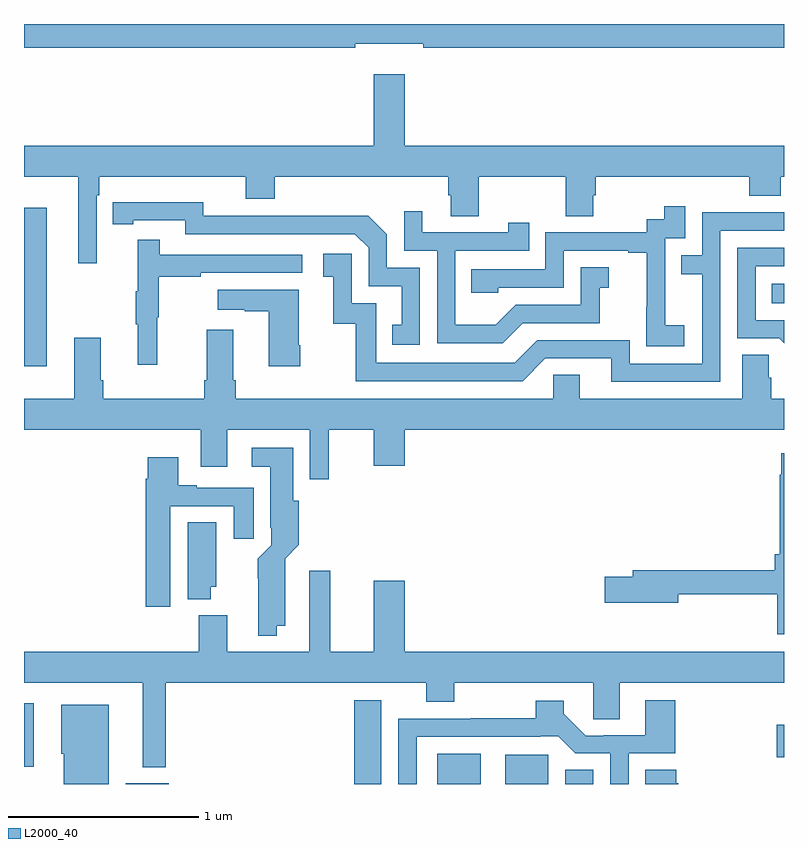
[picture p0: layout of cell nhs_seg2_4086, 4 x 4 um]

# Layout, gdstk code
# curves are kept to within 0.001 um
import gdstk
lib = gdstk.Library(unit=1e-6, precision=1e-09)
def R(c, l, rs):  # rectangles x0, y0, x1, y1
    for r in rs: c.add(gdstk.rectangle(r[:2], r[2:], *l))
def P(c, l, *ps):  # polygons
    for p in ps: c.add(gdstk.Polygon(p, *l))
L2000_40 = (2000, 40)

nhs_seg2_4086 = lib.new_cell('nhs_seg2_4086')
R(nhs_seg2_4086, L2000_40, [(331.535,617.8,331.762,617.803), (332.738,617.8,332.881,618.241), (333.176,617.8,333.403,617.959), (333.533,617.8,333.76,617.953), (333.848,617.8,333.997,617.876), (331,617.891,331.05,618.226), (334.962,617.942,335,618.112), (331,619.998,331.12,620.833), (334.936,620.33,335,620.434)])
P(nhs_seg2_4086, L2000_40, [(332.744,621.695),(333.1,621.695),(333.1,621.676),(335,621.676),(335,621.8),(331,621.8),(331,621.676),(332.744,621.676)],
  [(331.383,620.9),(331.397,620.9),(331.397,620.996),(332.168,620.996),(332.168,620.879),(332.321,620.879),(332.321,620.996),(333.233,620.996),(333.233,620.898),(333.245,620.898),(333.245,620.788),(333.393,620.788),(333.393,620.996),(333.85,620.996),(333.85,620.788),(333.997,620.788),(333.997,620.898),(334.01,620.898),(334.01,620.996),(334.817,620.996),(334.817,620.897),(334.982,620.897),(334.982,620.996),(335,620.996),(335,621.16),(333.004,621.16),(333.004,621.535),(332.84,621.535),(332.84,621.16),(331,621.16),(331,620.996),(331.286,620.996),(331.286,620.541),(331.383,620.541)],
  [(333.084,620.517),(332.91,620.517),(332.91,620.694),(332.812,620.792),(332.404,620.792),(332.404,620.79),(331.944,620.79),(331.944,620.863),(331.468,620.862),(331.468,620.746),(331.576,620.746),(331.576,620.766),(331.848,620.766),(331.848,620.694),(332.742,620.694),(332.814,620.622),(332.814,620.421),(332.987,620.421),(332.987,620.217),(332.938,620.217),(332.938,620.112),(333.084,620.112)],
  [(334.474,620.215),(334.376,620.215),(334.376,620.444),(334.374,620.444),(334.374,620.673),(334.479,620.673),(334.479,620.842),(334.371,620.842),(334.371,620.772),(334.278,620.772),(334.278,620.703),(333.744,620.703),(333.744,620.508),(333.355,620.508),(333.355,620.385),(333.495,620.385),(333.495,620.412),(333.84,620.412),(333.84,620.607),(334.181,620.607),(334.181,620.595),(334.277,620.595),(334.277,620.311),(334.276,620.311),(334.276,620.105),(334.474,620.105)],
  [(333.625,620.226),(334.029,620.226),(334.029,620.411),(334.078,620.411),(334.078,620.521),(333.93,620.521),(333.93,620.322),(333.588,620.322),(333.484,620.218),(333.27,620.218),(333.27,620.607),(333.659,620.607),(333.659,620.755),(333.548,620.755),(333.548,620.703),(333.097,620.703),(333.097,620.815),(333,620.815),(333,620.607),(333.174,620.607),(333.174,620.121),(333.52,620.121)],
  [(334.665,620.712),(335,620.712),(335,620.808),(334.569,620.808),(334.569,620.583),(334.459,620.583),(334.459,620.482),(334.569,620.482),(334.569,620.013),(334.188,620.013),(334.188,620.136),(333.702,620.136),(333.582,620.016),(332.853,620.016),(332.853,620.331),(332.724,620.331),(332.724,620.59),(332.574,620.59),(332.574,620.469),(332.627,620.469),(332.627,620.223),(332.745,620.223),(332.745,619.92),(333.624,619.92),(333.744,620.04),(334.091,620.04),(334.091,619.917),(334.665,619.917)],
  [(331.7,620.256),(331.708,620.256),(331.708,620.47),(331.931,620.47),(331.931,620.49),(332.464,620.49),(332.464,620.586),(331.715,620.586),(331.715,620.665),(331.598,620.665),(331.598,620.393),(331.587,620.393),(331.587,620.219),(331.598,620.219),(331.598,620.007),(331.7,620.007)],
  [(335,620.241),(334.851,620.241),(334.851,620.526),(335,620.526),(335,620.622),(334.755,620.622),(334.755,620.145),(334.974,620.145),(335,620.119)],
  [(332.454,620.11),(332.446,620.11),(332.446,620.401),(332.019,620.401),(332.019,620.297),(332.162,620.297),(332.162,620.287),(332.288,620.287),(332.288,619.998),(332.454,619.998)],
  [(334.92,619.937),(334.92,620.06),(334.781,620.06),(334.781,619.828),(333.925,619.828),(333.925,619.955),(333.786,619.955),(333.786,619.828),(332.114,619.828),(332.114,619.924),(332.101,619.924),(332.101,620.191),(331.961,620.191),(331.961,619.924),(331.949,619.924),(331.949,619.828),(331.418,619.828),(331.418,619.924),(331.405,619.924),(331.405,620.149),(331.265,620.149),(331.265,619.828),(331,619.828),(331,619.664),(331.931,619.664),(331.931,619.47),(332.071,619.47),(332.071,619.664),(332.505,619.664),(332.505,619.404),(332.604,619.404),(332.604,619.664),(332.84,619.664),(332.84,619.476),(333.004,619.476),(333.004,619.664),(335,619.664),(335,619.828),(334.934,619.828),(334.934,619.937)],
  [(332.329,618.632),(332.374,618.632),(332.375,618.986),(332.447,619.058),(332.447,619.29),(332.416,619.29),(332.416,619.57),(332.199,619.57),(332.199,619.469),(332.297,619.469),(332.297,619.15),(332.301,619.15),(332.301,619.056),(332.231,618.986),(332.232,618.581),(332.329,618.581)],
  [(335,619.54),(334.986,619.54),(334.986,619.427),(334.978,619.427),(334.978,619.009),(334.952,619.009),(334.952,618.926),(334.205,618.926),(334.205,618.89),(334.056,618.89),(334.056,618.755),(334.444,618.755),(334.444,618.798),(334.964,618.798),(334.964,618.587),(335,618.587)],
  [(331.771,619.263),(332.105,619.263),(332.105,619.092),(332.209,619.092),(332.209,619.359),(331.909,619.359),(331.909,619.372),(331.813,619.372),(331.813,619.519),(331.652,619.519),(331.652,619.406),(331.64,619.406),(331.64,618.732),(331.771,618.732)],
  [(331.984,618.837),(332.011,618.837),(332.011,619.178),(331.862,619.178),(331.862,618.773),(331.984,618.773)],
  [(331.747,618.332),(333.116,618.332),(333.116,618.233),(333.264,618.233),(333.264,618.332),(333.996,618.332),(333.996,618.142),(334.135,618.142),(334.135,618.332),(335,618.332),(335,618.496),(333.004,618.496),(333.004,618.871),(332.84,618.871),(332.84,618.496),(332.611,618.496),(332.611,618.922),(332.501,618.922),(332.501,618.496),(332.071,618.496),(332.071,618.688),(331.919,618.688),(331.919,618.496),(331,618.496),(331,618.332),(331.625,618.332),(331.625,617.888),(331.747,617.888)],
  [(333.066,618.048),(333.716,618.048),(333.716,618.051),(333.812,618.051),(333.902,617.961),(334.086,617.961),(334.086,617.8),(334.182,617.8),(334.182,617.961),(334.427,617.961),(334.427,618.241),(334.271,618.241),(334.271,618.057),(334.051,618.057),(334.051,618.054),(333.957,618.054),(333.841,618.17),(333.841,618.238),(333.694,618.238),(333.694,618.146),(333.352,618.146),(333.352,618.144),(332.97,618.144),(332.97,617.8),(333.066,617.8)],
  [(331.447,618.217),(331.196,618.217),(331.196,617.958),(331.208,617.958),(331.208,617.8),(331.447,617.8)],
  [(334.444,617.805),(334.432,617.805),(334.432,617.876),(334.271,617.876),(334.271,617.8),(334.444,617.8)])

lib.write_gds('nhs_seg2_4086.gds')
